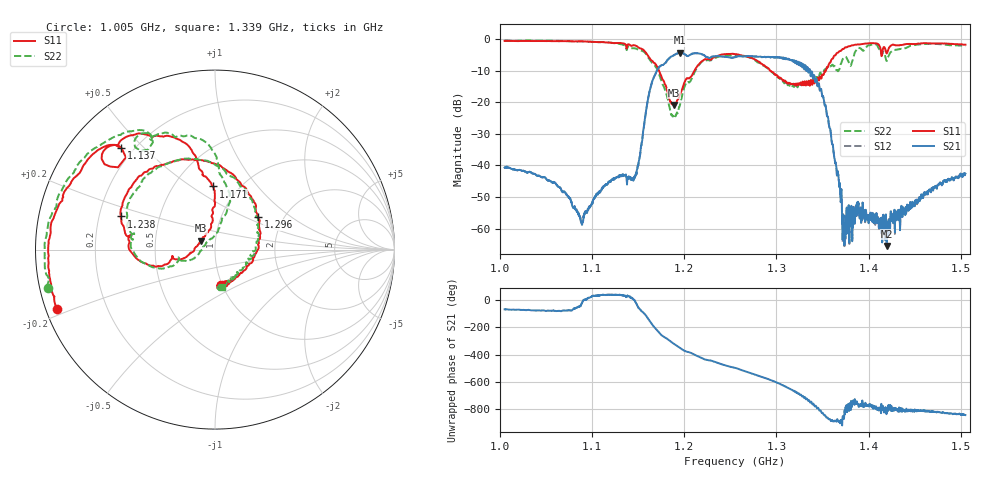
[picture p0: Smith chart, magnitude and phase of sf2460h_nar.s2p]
!Keysight Technologies,E5080A,MY55200989,A.11.70.00
!Date: Tuesday, January 30, 2018 08:36:45
!Correction: S11(Full 2 Port(1,2))
!S21(Full 2 Port(1,2))
!S12(Full 2 Port(1,2))
!S22(Full 2 Port(1,2))
!S2P File: Measurements: S11, S21, S12, S22:
# Hz S  dB  R 50
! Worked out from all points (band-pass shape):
!   1601 points, 1.005 GHz to 1.505 GHz, reference 50 ohm
!   highest |S21| = -4.31 dB at 1.195 GHz (marker M1); lowest = -65.5 dB at 1.42 GHz (marker M2)
!   |S21| within 3 dB of the highest: 1.18 GHz to 1.32 GHz (139.8 MHz wide, 11.2 % of centre); 1.32052 GHz to 1.321666 GHz (1.146 MHz wide, 0.0868 % of centre) (the widest 2 of 3)
!   lowest |S11| = -20.8 dB at 1.189 GHz (marker M3), VSWR 1.20, Z = 42.7 + j4.29 ohm
!   |S11| at or under -10 dB: 1.173 GHz to 1.211 GHz (38.36 MHz wide, 3.22 % of centre); 1.293 GHz to 1.354 GHz (60.24 MHz wide, 4.55 % of centre)
!   |S22| runs from -24.5 to -0.4 dB; largest |S21 - S12| = 0.00099
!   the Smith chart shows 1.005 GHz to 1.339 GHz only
!   S11 on the Smith chart (normalised r, x): 1.005 GHz: 0.03, -0.18; 1.137 GHz: 0.15, +0.43; 1.171 GHz: 0.76, +0.61; 1.238 GHz: 0.29, +0.16; 1.296 GHz: 1.49, +0.60; 1.339 GHz: 1.00, -0.39
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1.005e9  -0.55 -159.5  -40.68 -70.0  -40.49 -70.2  -0.41 -167.1
1.059688e9  -0.63 -176.6  -45.55 -81.3  -45.56 -81.2  -0.52 174.4
1.088438e9  -0.68 171.3  -58.23 -32.5  -58.03 -30.5  -0.69 161.7
1.136875e9  -2.25 132.6  -43.50 19.4  -43.44 18.5  -2.69 119.2
1.147812e9  -2.15 124.8  -42.18 -29.0  -42.20 -29.0  -2.98 113.6
1.17125e9  -9.07 91.9  -9.49 130.3  -9.48 130.3  -10.07 75.0
1.171875e9  -9.50 91.0  -9.17 126.0  -9.17 126.0  -10.49 74.3
1.18875e9  -20.82 146.9  -5.10 38.3  -5.11 38.3  -24.13 137.9
1.195e9  -17.69 -173.1  -4.31 9.1  -4.30 9.1  -21.20 -169.3
1.21625e9  -7.82 -169.6  -4.53 -58.3  -4.53 -58.2  -8.01 -168.4
1.238125e9  -5.10 160.6  -5.37 -105.7  -5.38 -105.8  -5.47 157.3
1.255e9  -4.68 132.4  -5.72 -137.8  -5.72 -137.8  -5.02 131.1
1.295625e9  -10.43 37.3  -5.69 128.1  -5.69 128.0  -10.60 38.5
1.323438e9  -14.52 -62.2  -7.28 33.5  -7.28 33.5  -14.80 -54.8
1.338438e9  -14.23 -85.3  -10.36 -36.2  -10.36 -36.2  -13.73 -84.9
1.339062e9  -14.29 -78.6  -11.24 -44.8  -11.24 -44.9  -13.45 -80.2
1.35375e9  -9.91 -71.9  -21.95 -136.2  -21.92 -136.6  -9.41 -97.8
1.373438e9  -2.95 -106.9  -62.66 -136.8  -62.79 -136.1  -5.79 -113.2
1.406875e9  -1.27 -160.5  -56.16 -76.3  -56.61 -74.9  -1.54 -160.1
1.419688e9  -4.50 -162.5  -65.51 -71.8  -65.52 -69.8  -6.93 -162.9
1.421875e9  -2.88 -155.4  -57.22 -81.2  -57.00 -80.1  -5.17 -154.5
1.505e9  -1.74 148.7  -42.60 -122.7  -42.54 -122.7  -2.24 145.7
